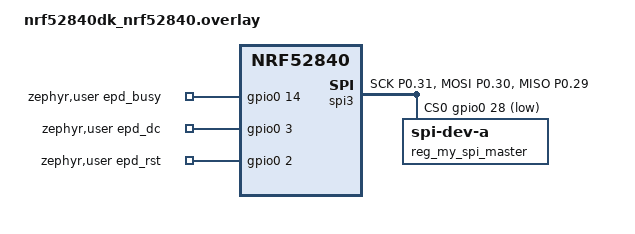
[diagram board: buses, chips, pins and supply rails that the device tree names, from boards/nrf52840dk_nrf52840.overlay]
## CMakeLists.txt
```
# SPDX-License-Identifier: Apache-2.0

cmake_minimum_required(VERSION 3.20.0)

find_package(Zephyr REQUIRED HINTS $ENV{ZEPHYR_BASE})
project(lvgl_1)

# Add all the C files you want built for the app here.
# Keep source files in src/ and list them below.
target_sources(app PRIVATE
    src/main.c
    src/ssd1683.c
    src/ssd1683.h
    src/image_bitmap.h
    src/image_bitmap.c



)
```

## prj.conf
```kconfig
# Basic Configuration
CONFIG_MAIN_STACK_SIZE=4096

# SPI Configuration
CONFIG_SPI=y

# GPIO Configuration
CONFIG_GPIO=y

# Logging
CONFIG_LOG=y
CONFIG_SHELL=y
CONFIG_LOG_DEFAULT_LEVEL=3

# Enable button for testing
CONFIG_RESET_COUNTER_SW0=y
CONFIG_GPIO=y

CONFIG_SPI=y
CONFIG_SPI_ASYNC=y

CONFIG_SPI_SLAVE=y
```

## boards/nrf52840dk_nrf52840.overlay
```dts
&pinctrl {
	spi_master_default: spi_master_default {
		group1 {
			psels = <NRF_PSEL(SPIM_SCK, 0, 31)>,
					<NRF_PSEL(SPIM_MOSI, 0, 30)>,
					<NRF_PSEL(SPIM_MISO, 0, 29)>;
		};
	};

	spi_master_sleep: spi_master_sleep {
		group1 {
			psels = <NRF_PSEL(SPIM_SCK, 0, 31)>,
					<NRF_PSEL(SPIM_MOSI, 0, 30)>,
					<NRF_PSEL(SPIM_MISO, 0, 29)>;
			low-power-enable;
		};
	};

};

my_spi_master: &spi3 {
	compatible = "nordic,nrf-spim";
	status = "okay";
	pinctrl-0 = <&spi_master_default>;
	pinctrl-1 = <&spi_master_sleep>;
	pinctrl-names = "default", "sleep";
	cs-gpios = <&gpio0 28 GPIO_ACTIVE_LOW>;
	reg_my_spi_master: spi-dev-a@0 {
		reg = <0>;
	};
};



// By default uart1 will occupy P1.01 and P1.02. In order to make these pins available, disable uart1
&uart1 {
	status="disabled";
};
/ {
	zephyr,user {
		epd_busy-gpios = <&gpio0 14 GPIO_ACTIVE_HIGH>;
		epd_dc-gpios = <&gpio0 3 GPIO_PULL_UP>;
		epd_rst-gpios = <&gpio0 2 GPIO_ACTIVE_HIGH>;
	}; 
};
	
```

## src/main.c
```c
#include <zephyr/drivers/gpio.h>
#include <zephyr/drivers/spi.h>
#include <zephyr/kernel.h>
#include <zephyr/logging/log.h>

#include "ssd1683.h"

LOG_MODULE_REGISTER(epd_main, LOG_LEVEL_INF);
#define LED0_NODE DT_ALIAS(led0)
#define ZEPHYR_USER_NODE DT_PATH(zephyr_user)
#define MY_SPI_MASTER DT_NODELABEL(my_spi_master)
#define MY_SPI_MASTER_CS_DT_SPEC                                               \
  SPI_CS_GPIOS_DT_SPEC_GET(DT_NODELABEL(reg_my_spi_master))
static const struct gpio_dt_spec led = GPIO_DT_SPEC_GET(LED0_NODE, gpios);

// SSD1683 display configuration
static const struct ssd1683_config epd_cfg = {
    .spi_dev = DEVICE_DT_GET(MY_SPI_MASTER),
    .spi_cfg =
        {
            .operation = SPI_WORD_SET(8) | SPI_WORD_SET(8) | SPI_TRANSFER_MSB |
                         SPI_MODE_CPOL | SPI_MODE_CPHA,
            .frequency = 4000000,
            .slave = 0,
            .cs = {.gpio = MY_SPI_MASTER_CS_DT_SPEC, .delay = 0},
        },
    .dc = GPIO_DT_SPEC_GET(ZEPHYR_USER_NODE, epd_dc_gpios),
    .rst = GPIO_DT_SPEC_GET(ZEPHYR_USER_NODE, epd_rst_gpios),
    .busy = GPIO_DT_SPEC_GET(ZEPHYR_USER_NODE, epd_busy_gpios),
    .width = 400,
    .height = 300,
};

int main(void) {
  int ret;

  LOG_INF("Starting SSD1683 EPD test");

  // Configure LED
  if (!device_is_ready(led.port)) {
    LOG_ERR("LED device not ready");
  } else {
    ret = gpio_pin_configure_dt(&led, GPIO_OUTPUT_ACTIVE);
    if (ret < 0) {
      LOG_ERR("Failed to configure LED: %d", ret);
    }
  }

  // Initialize display
  ret = ssd1683_init(&epd_cfg);
  if (ret < 0) {
    LOG_ERR("SSD1683 init failed: %d", ret);
  }

  // Clear screen
  ssd1683_clear(&epd_cfg);

  //   ssd1683_draw_rect_fb(46, 31, 31, 235, SSD1683_COLOR_WHITE);
  //   ssd1683_draw_rect_fb(86, 31, 31, 235, SSD1683_COLOR_WHITE);
  //   ssd1683_draw_rect_fb(126, 31, 31, 235, SSD1683_COLOR_WHITE);
  //   ssd1683_draw_rect_fb(246, 31, 31, 235, SSD1683_COLOR_WHITE);
  //   ssd1683_draw_rect_fb(286, 31, 31, 235, SSD1683_COLOR_WHITE);
  //   ssd1683_draw_rect_fb(326, 31, 31, 235, SSD1683_COLOR_WHITE);

  //   ssd1683_draw_rect_fb(58, 85, 9, 130, SSD1683_COLOR_RED);
  //   ssd1683_draw_rect_fb(137, 85, 9, 130, SSD1683_COLOR_RED);
  //   ssd1683_draw_rect_fb(257, 85, 9, 130, SSD1683_COLOR_RED);
  //   ssd1683_draw_rect_fb(337, 85, 9, 130, SSD1683_COLOR_RED);
  //   ssd1683_draw_rect_fb(176, 85, 54, 130, SSD1683_COLOR_RED);
  //   //   ssd1683_draw_string_fb(10, 20, "Quick Brown Fox Jumps Over The Lazy
  //   Dog",
  //   //                          SSD1683_COLOR_RED);
  //   //   ssd1683_draw_string_fb(10, 40, "1234567890~!@#$%^&*()_+=",
  //   //   SSD1683_COLOR_RED);

  //   ssd1683_draw_bitmap(&epd_cfg); // draw your header image
  //   ssd1683_flush(&epd_cfg);

  ssd1683_deep_sleep(&epd_cfg);
  LOG_INF("Display initialized and circle drawn");

  // Blink LED to show main loop running
  while (1) {
    if (device_is_ready(led.port)) {
      gpio_pin_toggle_dt(&led);
    }
    k_msleep(1000);
  }
  return 0;
}
```

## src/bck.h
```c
// // // #include <zephyr/device.h>
// // // #include <zephyr/drivers/gpio.h>
// // // #include <zephyr/drivers/spi.h>
// // // #include <zephyr/kernel.h>
// // // #include <zephyr/logging/log.h>

// // // LOG_MODULE_REGISTER(epd_gpio, LOG_LEVEL_INF);

// // // #define LED0_NODE DT_ALIAS(led0)
// // // #define ZEPHYR_USER_NODE DT_PATH(zephyr_user)
// // // #define MY_SPI_MASTER DT_NODELABEL(my_spi_master)
// // // #define MY_SPI_MASTER_CS_DT_SPEC \
// // //   SPI_CS_GPIOS_DT_SPEC_GET(DT_NODELABEL(reg_my_spi_master))

// // // #define MY_SPI_SLAVE DT_NODELABEL(my_spi_slave)

// // // // SPI master functionality
// // // const struct device *spi_dev;
// // // static struct k_poll_signal spi_done_sig =
// // //     K_POLL_SIGNAL_INITIALIZER(spi_done_sig);

// // // static void spi_init(void) {
// // //   spi_dev = DEVICE_DT_GET(MY_SPI_MASTER);
// // //   if (!device_is_ready(spi_dev)) {
// // //     printk("SPI master device not ready!\n");
// // //   }
// // //   struct gpio_dt_spec spim_cs_gpio = MY_SPI_MASTER_CS_DT_SPEC;
// // //   if (!device_is_ready(spim_cs_gpio.port)) {
// // //     printk("SPI master chip select device not ready!\n");
// // //   }
// // // }

// // // static struct spi_config spi_cfg = {
// // //     .operation =
// // //         SPI_WORD_SET(8) | SPI_TRANSFER_MSB | SPI_MODE_CPOL |
// // // SPI_MODE_CPHA,
// // //     .frequency = 4000000,
// // //     .slave = 0,
// // //     .cs = {.gpio = MY_SPI_MASTER_CS_DT_SPEC, .delay = 0},
// // // };

// // // static int spi_write_test_msg(void) {
// // //   static uint8_t counter = 0;
// // //   static uint8_t tx_buffer[2];
// // //   static uint8_t rx_buffer[2];

// // //   const struct spi_buf tx_buf = {.buf = tx_buffer, .len =
// // //     sizeof(tx_buffer)
// // // }
// // // ;
// // //   const struct spi_buf_set tx = {.buffers = &tx_buf, .count = 1};

// // //   struct spi_buf rx_buf = {
// // //       .buf = rx_buffer,
// // //       .len = sizeof(rx_buffer),
// // //   };
// // //   const struct spi_buf_set rx = {.buffers = &rx_buf, .count = 1};

// // //   // Update the TX buffer with a rolling counter
// // //   tx_buffer[0] = counter++;
// // //   printk("SPI TX: 0x%.2x, 0x%.2x\n", tx_buffer[0], tx_buffer[1]);

// // //   // Reset signal
// // //   k_poll_signal_reset(&spi_done_sig);

// // //   // Start transaction
// // //   int error = spi_transceive_signal(spi_dev, &spi_cfg, &tx, &rx,
// // //   &spi_done_sig); if (error != 0) {
// // //     printk("SPI transceive error: %i\n", error);
// // //     return error;
// // //   }

// // //   // Wait for the done signal to be raised and log the rx buffer
// // //   int spi_signaled, spi_result;
// // //   do {
// // //     k_poll_signal_check(&spi_done_sig, &spi_signaled, &spi_result);
// // //   } while (spi_signaled == 0);
// // //   printk("SPI RX: 0x%.2x, 0x%.2x\n", rx_buffer[0], rx_buffer[1]);
// // //   return 0;
// // // }

// // // static const struct gpio_dt_spec led = GPIO_DT_SPEC_GET(LED0_NODE,
// gpios);

// // // int main(void) {
// // //   int ret;
// // //   if (!device_is_ready(led.port)) {
// // //     return 0;
// // //   }

// // //   ret = gpio_pin_configure_dt(&led, GPIO_OUTPUT_ACTIVE);
// // //   if (ret < 0) {
// // //     return 0;
// // //   }
// // //   spi_init();

// // //   const struct gpio_dt_spec epd_busy =
// // //       GPIO_DT_SPEC_GET(ZEPHYR_USER_NODE, epd_busy_gpios);
// // //   const struct gpio_dt_spec epd_dc =
// // //       GPIO_DT_SPEC_GET(ZEPHYR_USER_NODE, epd_dc_gpios);
// // //   const struct gpio_dt_spec epd_rst =
// // //       GPIO_DT_SPEC_GET(ZEPHYR_USER_NODE, epd_rst_gpios);

// // //   // Check device readiness
// // //   if (!device_is_ready(epd_busy.port)) {
// // //     LOG_ERR("EPD BUSY GPIO device not ready");
// // //     return;
// // //   }
// // //   if (!device_is_ready(epd_dc.port)) {
// // //     LOG_ERR("EPD DC GPIO device not ready");
// // //     return;
// // //   }
// // //   if (!device_is_ready(epd_rst.port)) {
// // //     LOG_ERR("EPD RST GPIO device not ready");
// // //     return;
// // //   }

// // //   // Configure pins
// // //   ret = gpio_pin_configure_dt(&epd_busy, GPIO_OUTPUT_INACTIVE);
// // //   if (ret < 0) {
// // //     LOG_ERR("Failed to configure EPD BUSY pin: %d", ret);
// // //   } else {
// // //     LOG_INF("EPD BUSY pin configured");
// // //     gpio_pin_set_dt(&epd_busy, 1);
// // //     LOG_INF("EPD BUSY pin set HIGH");
// // //   }

// // //   ret = gpio_pin_configure_dt(&epd_dc, GPIO_OUTPUT_INACTIVE);
// // //   if (ret < 0) {
// // //     LOG_ERR("Failed to configure EPD DC pin: %d", ret);
// // //   } else {
// // //     LOG_INF("EPD DC pin configured");
// // //     gpio_pin_set_dt(&epd_dc, 1);
// // //     LOG_INF("EPD DC pin set HIGH");
// // //   }

// // //   ret = gpio_pin_configure_dt(&epd_rst, GPIO_OUTPUT_INACTIVE);
// // //   if (ret < 0) {
// // //     LOG_ERR("Failed to configure EPD RST pin: %d", ret);
// // //   } else {
// // //     LOG_INF("EPD RST pin configured");
// // //     gpio_pin_set_dt(&epd_rst, 1);
// // //     LOG_INF("EPD RST pin set HIGH");
// // //   }

// // //   LOG_INF("EPD GPIO initialization complete");

// // //   while (1) {
// // //     k_msleep(1000);
// // //   }
// // //   return 0;
// // // }

// // #include <zephyr/device.h>
// // #include <zephyr/drivers/gpio.h>
// // #include <zephyr/drivers/spi.h>
// // #include <zephyr/kernel.h>
// // #include <zephyr/logging/log.h>

// // LOG_MODULE_REGISTER(epd_gpio, LOG_LEVEL_INF);

// // #define LED0_NODE DT_ALIAS(led0)
// // #define ZEPHYR_USER_NODE DT_PATH(zephyr_user)
// // #define MY_SPI_MASTER DT_NODELABEL(my_spi_master)
// // #define MY_SPI_MASTER_CS_DT_SPEC \
// //   SPI_CS_GPIOS_DT_SPEC_GET(DT_NODELABEL(reg_my_spi_master))

// // #define MY_SPI_SLAVE DT_NODELABEL(my_spi_slave)

// // // SPI master functionality
// // const struct device *spi_dev;
// // static struct k_poll_signal spi_done_sig =
// //     K_POLL_SIGNAL_INITIALIZER(spi_done_sig);

// // static void spi_init(void) {
// //   spi_dev = DEVICE_DT_GET(MY_SPI_MASTER);
// //   if (!device_is_ready(spi_dev)) {
// //     LOG_ERR("SPI master device not ready!");
// //   } else {
// //     LOG_INF("SPI master device ready");
// //   }

// //   struct gpio_dt_spec spim_cs_gpio = MY_SPI_MASTER_CS_DT_SPEC;
// //   if (!device_is_ready(spim_cs_gpio.port)) {
// //     LOG_ERR("SPI master chip select device not ready!");
// //   } else {
// //     LOG_INF("SPI CS GPIO ready (port %p, pin %d)", spim_cs_gpio.port,
// //             spim_cs_gpio.pin);
// //   }
// // }

// // static struct spi_config spi_cfg = {
// //     .operation =
// //         SPI_WORD_SET(8) | SPI_TRANSFER_MSB | SPI_MODE_CPOL |
// SPI_MODE_CPHA,
// //     .frequency = 4000000,
// //     .slave = 0,
// //     .cs = {.gpio = MY_SPI_MASTER_CS_DT_SPEC, .delay = 0},
// // };

// // static int spi_write_test_msg(void) {
// //   static uint8_t counter = 20;
// //   static uint8_t tx_buffer[2];
// //   static uint8_t rx_buffer[2];

// //   const struct spi_buf tx_buf = {.buf = tx_buffer, .len =
// sizeof(tx_buffer)};
// //   const struct spi_buf_set tx = {.buffers = &tx_buf, .count = 1};

// //   struct spi_buf rx_buf = {
// //       .buf = rx_buffer,
// //       .len = sizeof(rx_buffer),
// //   };
// //   const struct spi_buf_set rx = {.buffers = &rx_buf, .count = 1};

// //   // Update TX buffer with rolling counter
// //   tx_buffer[0] = counter++;
// //   LOG_INF("SPI TX: 0x%.2x 0x%.2x", tx_buffer[0], tx_buffer[1]);

// //   k_poll_signal_reset(&spi_done_sig);

// //   int error = spi_transceive_signal(spi_dev, &spi_cfg, &tx, &rx,
// //   &spi_done_sig); if (error != 0) {
// //     LOG_ERR("SPI transceive_signal failed: %d", error);
// //     return error;
// //   }

// //   // Wait for signal
// //   int spi_signaled, spi_result;
// //   do {
// //     k_poll_signal_check(&spi_done_sig, &spi_signaled, &spi_result);
// //   } while (spi_signaled == 0);

// //   LOG_INF("SPI RX: 0x%.2x 0x%.2x", rx_buffer[0], rx_buffer[1]);
// //   return 0;
// // }

// // static const struct gpio_dt_spec led = GPIO_DT_SPEC_GET(LED0_NODE, gpios);

// // const struct gpio_dt_spec epd_busy =
// //     GPIO_DT_SPEC_GET(ZEPHYR_USER_NODE, epd_busy_gpios);
// // const struct gpio_dt_spec epd_dc =
// //     GPIO_DT_SPEC_GET(ZEPHYR_USER_NODE, epd_dc_gpios);
// // const struct gpio_dt_spec epd_rst =
// //     GPIO_DT_SPEC_GET(ZEPHYR_USER_NODE, epd_rst_gpios);

// // // Check device readiness
// // // if (!device_is_ready(epd_busy.port)) {
// // //   LOG_ERR("EPD BUSY GPIO device not ready");
// // //   return 0;
// // // }
// // // if (!device_is_ready(epd_dc.port)) {
// // //   LOG_ERR("EPD DC GPIO device not ready");
// // //   return 0;
// // // }
// // // if (!device_is_ready(epd_rst.port)) {
// // //   LOG_ERR("EPD RST GPIO device not ready");
// // //   return 0;
// // // }
// // // int ret = 0;
// // // // Configure pins
// // // ret = gpio_pin_configure_dt(&epd_busy, GPIO_INPUT);
// // // if (ret < 0) {
// // //   LOG_ERR("Failed to configure EPD BUSY pin: %d", ret);
// // // } else {
// // //   LOG_INF("EPD BUSY pin configured");
// // //   gpio_pin_set_dt(&epd_busy, 1);
// // //   LOG_INF("EPD BUSY pin set HIGH");
// // // }

// // // ret = gpio_pin_configure_dt(&epd_dc, GPIO_OUTPUT_INACTIVE);
// // // if (ret < 0) {
// // //   LOG_ERR("Failed to configure EPD DC pin: %d", ret);
// // // } else {
// // //   LOG_INF("EPD DC pin configured");
// // //   gpio_pin_set_dt(&epd_dc, 1);
// // //   LOG_INF("EPD DC pin set HIGH");
// // // }

// // // ret = gpio_pin_configure_dt(&epd_rst, GPIO_OUTPUT_INACTIVE);
// // // if (ret < 0) {
// // //   LOG_ERR("Failed to configure EPD RST pin: %d", ret);
// // // } else {
// // //   LOG_INF("EPD RST pin configured");
// // //   gpio_pin_set_dt(&epd_rst, 1);
// // //   LOG_INF("EPD RST pin set HIGH");
// // // }

// // static void epd_send_command(uint8_t cmd) {
// //   gpio_pin_set_dt(&epd_dc, 0); // command mode
// //   struct spi_buf buf = {.buf = &cmd, .len = 1};
// //   struct spi_buf_set tx = {.buffers = &buf, .count = 1};
// //   spi_write(spi_dev, &spi_cfg, &tx);
// // }

// // static void epd_send_data(uint8_t data) {
// //   gpio_pin_set_dt(&epd_dc, 1); // data mode
// //   struct spi_buf buf = {.buf = &data, .len = 1};
// //   struct spi_buf_set tx = {.buffers = &buf, .count = 1};
// //   spi_write(spi_dev, &spi_cfg, &tx);
// // }
// // static void epd_wait_busy(void) {
// //   LOG_INF("Waiting for EPD BUSY...");
// //   while (gpio_pin_get_dt(&epd_busy)) {
// //     k_msleep(10);
// //   }
// //   LOG_INF("BUSY=%d in wait busy", gpio_pin_get_dt(&epd_busy));
// //   LOG_INF("EPD ready (BUSY=LOW)");
// // }

// // static void epd_hw_reset(void) {
// //   gpio_pin_set_dt(&epd_rst, 0);
// //   k_msleep(10); // at least 10ms
// //   gpio_pin_set_dt(&epd_rst, 1);
// //   k_msleep(10); // at least 2ms
// //   LOG_INF("HW Reset done");
// // }
// // static void epd_init_ssd1683(void) {
// //   LOG_INF("EPD Init (SSD1683)");

// //   // HW Reset with pulse
// //   epd_hw_reset();
// //   epd_wait_busy();

// //   // SW Reset
// //   epd_send_command(0x12); // SWRESET
// //   k_msleep(10);
// //   epd_wait_busy();

// //   // Driver output control
// //   epd_send_command(0x01); // Driver Output Control
// //   epd_send_data(0x2B);    // A[7:0] = 0x2B
// //   epd_send_data(0x01);    // A[8] = 1
// //   epd_send_data(0x00);    // B[2:0] = 000

// //   // Data entry mode
// //   epd_send_command(0x11);
// //   epd_send_data(0x03); // X increment, Y increment

// //   // Set RAM X address
// //   epd_send_command(0x44);
// //   epd_send_data(0x00); // start 0
// //   epd_send_data(0x31); //

// //   // Set RAM Y address
// //   epd_send_command(0x45);
// //   epd_send_data(0x00);
// //   epd_send_data(0x00);
// //   epd_send_data(0x2B);
// //   epd_send_data(0x01);

// //   // Border waveform
// //   epd_send_command(0x3C);
// //   epd_send_data(0xC0);

// //   /*4. Load Waveform LUT
// //   • Sense temperature by int/ext TS by Command 0x18

// //   • Load waveform LUT from OTP by Command 0x22,
// //   0x20 or by MCU
// //   • Wait BUSY Low*/

// //   // sense temp selection
// //   epd_send_command(0x18);
// //   epd_send_data(0x80); // internal
// //   epd_send_command(0x22);
// //   epd_send_data(0xF7); // clk+analog+load temp + LUT (3-color)
// //   epd_send_command(0x20);
// //   epd_wait_busy();

// //   // load waveform from OTP

// //   /*
// //   5. Write Image and Drive Display Panel
// // • Write image data in RAM by Command 0x4E, 0x4F,
// // 0x24, 0x26
// // • Set softstart setting by Command 0x0C
// // • Drive display panel by Command 0x22, 0x20
// // • Wait BUSY Low*/

// //   // epd_send_command(0x24); // Write BW RAM
// //   // for (int i = 0; i < 50 * 300; i++) {
// //   //   epd_send_data(0x00); // Fill white
// //   // }

// //   // k_msleep(500);

// //   // epd_send_command(0x26);
// //   // for (int i = 0; i < 50 * 300; i++) {
// //   //   epd_send_data(0xFF); // Full red
// //   // }

// //   // k_msleep(500);

// //   // Set softstart setting by Command 0x0C
// //   // epd_send_command(0x0C);
// //   // epd_send_data(0xD7);
// //   // epd_send_data(0xD6);
// //   // epd_send_data(0x9D);

// //   int bytes_per_line = 400 / 8;
// //   int total_bytes = bytes_per_line * 300;

// //   // Clear BW RAM (white = 0xFF)
// //   epd_send_command(0x24);
// //   for (int i = 0; i < total_bytes; i++) {
// //     epd_send_data(0xFF);
// //   }

// //   // Clear RED RAM (no red = 0x00)
// //   epd_send_command(0x26);
// //   for (int i = 0; i < total_bytes; i++) {
// //     epd_send_data(0x00);
// //   }

// //   // Now update once
// //   epd_send_command(0x22);
// //   epd_send_data(0xC7);
// //   epd_send_command(0x20);
// //   epd_wait_busy();

// //   epd_send_command(0x24); // Write BW RAM

// //   int cx = 200; // center x
// //   int cy = 150; // center y
// //   int r = 50;   // radius

// //   epd_send_command(0x24); // Write BW RAM
// //   for (int y = 0; y < 300; y++) {
// //     for (int bx = 0; bx < bytes_per_line; bx++) {
// //       uint8_t data = 0xFF; // default = all white
// //       int x_start = bx * 8;

// //       for (int b = 0; b < 8; b++) {
// //         int x = x_start + b;

// //         // check circle equation
// //         int dx = x - cx;
// //         int dy = y - cy;
// //         if (dx * dx + dy * dy <= r * r) {
// //           data &= ~(1 << (7 - b)); // bit=0 → black pixel
// //         }
// //       }
// //       epd_send_data(data);
// //     }
// //   }

// //   // Optional: clear red RAM so no flecks
// //   epd_send_command(0x26);
// //   for (int i = 0; i < total_bytes; i++) {
// //     epd_send_data(0x00);
// //   }

// //   // Refresh
// //   epd_send_command(0x22);
// //   epd_send_data(0xC7);
// //   epd_send_command(0x20);
// //   epd_wait_busy();

// //   LOG_INF("EPD SSD1683 init complete");
// // }

// // static void epd_init_phase1(void) {
// //   LOG_INF("EPD Init Phase 1: SPI setup + HW/SW reset");
// //   // Configure pins
// //   gpio_pin_configure_dt(&epd_rst, GPIO_OUTPUT_ACTIVE);
// //   gpio_pin_configure_dt(&epd_dc, GPIO_OUTPUT_ACTIVE);
// //   gpio_pin_configure_dt(&epd_busy, GPIO_INPUT);
// // }

// // #include "ssd1683.h"
// // #include <zephyr/kernel.h>

// // int main(void) {
// //   int ret;

// //   // Check LED device
// //   if (!device_is_ready(led.port)) {
// //     LOG_ERR("LED device not ready!");
// //     return 0;
// //   }

// //   ret = gpio_pin_configure_dt(&led, GPIO_OUTPUT_ACTIVE);
// //   if (ret < 0) {
// //     LOG_ERR("Failed to configure LED: %d", ret);
// //     return 0;
// //   } else {
// //     LOG_INF("LED configured and set active");
// //   }

// //   // Check EPD GPIO devices
// //   if (!device_is_ready(epd_busy.port)) {
// //     LOG_ERR("EPD BUSY GPIO device not ready");
// //     return 0;
// //   }
// //   if (!device_is_ready(epd_dc.port)) {
// //     LOG_ERR("EPD DC GPIO device not ready");
// //     return 0;
// //   }
// //   if (!device_is_ready(epd_rst.port)) {
// //     LOG_ERR("EPD RST GPIO device not ready");
// //     return 0;
// //   }

// //   // Init SPI + EPD (Phase 1 reset sequence)
// //   spi_init();
// //   epd_init_phase1(); // handles HW + SW reset
// //   epd_init_ssd1683();
// //   // epd_clear_ssd1683();

// //   while (1) {
// //     ret = gpio_pin_toggle_dt(&led);
// //     if (ret < 0) {
// //       LOG_ERR("Failed to toggle LED: %d", ret);
// //     }
// //     k_msleep(1000);
// //   }

// //   return 0;
// // }
```

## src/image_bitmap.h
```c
#ifndef IMAGE_BITMAP_H
#define IMAGE_BITMAP_H

#include <stdint.h>

extern const uint8_t bw_bitmap[15000];
extern const uint8_t red_bitmap[15000];

#endif // IMAGE_BITMAP_H
```

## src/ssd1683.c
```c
#include "ssd1683.h"
#include <zephyr/logging/log.h>
LOG_MODULE_REGISTER(ssd1683, LOG_LEVEL_INF);

#define SSD1683_WIDTH 400
#define SSD1683_HEIGHT 300

// 1 bit per pixel for BW
static uint8_t fb_bw[SSD1683_WIDTH * SSD1683_HEIGHT / 8];
static uint8_t fb_red[SSD1683_WIDTH * SSD1683_HEIGHT / 8];

// Simple helpers
static void wait_busy(const struct ssd1683_config *cfg) {
  LOG_INF("Waiting for BUSY pin...");
  while (gpio_pin_get_dt(&cfg->busy)) {
    k_msleep(10);
  }
}

void ssd1683_deep_sleep(const struct ssd1683_config *cfg) {
  ssd1683_write_cmd(cfg, 0x10);
  ssd1683_write_data(cfg, 0x11);
};

// Low-level SPI commands
void ssd1683_write_cmd(const struct ssd1683_config *cfg, uint8_t cmd) {
  gpio_pin_set_dt(&cfg->dc, 0); // command mode
  struct spi_buf buf = {.buf = &cmd, .len = 1};
  struct spi_buf_set tx = {.buffers = &buf, .count = 1};
  spi_write(cfg->spi_dev, &cfg->spi_cfg, &tx);
}

void ssd1683_write_data(const struct ssd1683_config *cfg, uint8_t data) {
  gpio_pin_set_dt(&cfg->dc, 1); // data mode
  struct spi_buf buf = {.buf = &data, .len = 1};
  struct spi_buf_set tx = {.buffers = &buf, .count = 1};
  spi_write(cfg->spi_dev, &cfg->spi_cfg, &tx);
}

// Hardware reset
void ssd1683_reset(const struct ssd1683_config *cfg) {
  gpio_pin_set_dt(&cfg->rst, 0);
  k_msleep(10);
  gpio_pin_set_dt(&cfg->rst, 1);
  k_msleep(10);
  LOG_INF("HW Reset done");
}

// Initialize display (basic)
int ssd1683_init(const struct ssd1683_config *cfg) {
  if (!device_is_ready(cfg->spi_dev) || !device_is_ready(cfg->dc.port) ||
      !device_is_ready(cfg->rst.port) || !device_is_ready(cfg->busy.port)) {
    LOG_ERR("One or more devices not ready");
    return -ENODEV;
  }

  gpio_pin_configure_dt(&cfg->dc, GPIO_OUTPUT_ACTIVE);
  gpio_pin_configure_dt(&cfg->rst, GPIO_OUTPUT_ACTIVE);
  gpio_pin_configure_dt(&cfg->busy, GPIO_INPUT);

  ssd1683_reset(cfg);
  wait_busy(cfg);

  // SW reset
  ssd1683_write_cmd(cfg, 0x12);
  k_msleep(10);
  wait_busy(cfg);

  // Basic driver output control & data entry mode
  ssd1683_write_cmd(cfg, 0x01);
  ssd1683_write_data(cfg, 0x2B);
  ssd1683_write_data(cfg, 0x01);
  ssd1683_write_data(cfg, 0x00);

  ssd1683_write_cmd(cfg, 0x11);
  ssd1683_write_data(cfg, 0x03);

  // Set RAM X address
  ssd1683_write_cmd(cfg, 0x44);
  ssd1683_write_data(cfg, 0x00); // start 0
  ssd1683_write_data(cfg, 0x31); //

  // Set RAM Y address
  ssd1683_write_cmd(cfg, 0x45);
  ssd1683_write_data(cfg, 0x00);
  ssd1683_write_data(cfg, 0x00);
  ssd1683_write_data(cfg, 0x2B);
  ssd1683_write_data(cfg, 0x01);

  // Border waveform
  ssd1683_write_cmd(cfg, 0x3C);
  ssd1683_write_data(cfg, 0x10);

  /*4. Load Waveform LUT
  • Sense temperature by int/ext TS by Command 0x18

  • Load waveform LUT from OTP by Command 0x22,
  0x20 or by MCU
  • Wait BUSY Low*/

  // sense temp selection
  ssd1683_write_cmd(cfg, 0x18);
  ssd1683_write_data(cfg, 0x80); // internal
  ssd1683_write_cmd(cfg, 0x22);
  ssd1683_write_data(cfg, 0xF7); // clk+analog+load temp + LUT (3-color)
  ssd1683_write_cmd(cfg, 0x20);
  wait_busy(cfg);

  // load waveform from OTP

  /*
  5. Write Image and Drive Display Panel
• Write image data in RAM by Command 0x4E, 0x4F,
0x24, 0x26
• Set softstart setting by Command 0x0C
• Drive display panel by Command 0x22, 0x20
• Wait BUSY Low*/
  //   Set softstart setting by Command 0x0C
  ssd1683_write_cmd(cfg, 0x0C);
  ssd1683_write_data(cfg, 0xD7);
  ssd1683_write_data(cfg, 0xD6);
  ssd1683_write_data(cfg, 0x9D);
  LOG_INF("SSD1683 init done");
  return 0;
}

// Clear display (BW=white, RED=off)
void ssd1683_clear(const struct ssd1683_config *cfg) {
  int bytes_per_line = cfg->width / 8;
  int total_bytes = bytes_per_line * cfg->height;

  ssd1683_write_cmd(cfg, 0x24); // BW RAM
  for (int i = 0; i < total_bytes; i++)
    ssd1683_write_data(cfg, 0xFF);

  ssd1683_write_cmd(cfg, 0x26); // RED RAM
  for (int i = 0; i < total_bytes; i++)
    ssd1683_write_data(cfg, 0x00);

  ssd1683_refresh(cfg);
}

// Refresh display
void ssd1683_refresh(const struct ssd1683_config *cfg) {
  ssd1683_write_cmd(cfg, 0x22);
  ssd1683_write_data(cfg, 0xC7);
  ssd1683_write_cmd(cfg, 0x20);
  wait_busy(cfg);
}

char font8x8_basic[128][8] = {
    {0x00, 0x00, 0x00, 0x00, 0x00, 0x00, 0x00, 0x00}, // U+0000 (nul)
    {0x00, 0x00, 0x00, 0x00, 0x00, 0x00, 0x00, 0x00}, // U+0001
    {0x00, 0x00, 0x00, 0x00, 0x00, 0x00, 0x00, 0x00}, // U+0002
    {0x00, 0x00, 0x00, 0x00, 0x00, 0x00, 0x00, 0x00}, // U+0003
    {0x00, 0x00, 0x00, 0x00, 0x00, 0x00, 0x00, 0x00}, // U+0004
    {0x00, 0x00, 0x00, 0x00, 0x00, 0x00, 0x00, 0x00}, // U+0005
    {0x00, 0x00, 0x00, 0x00, 0x00, 0x00, 0x00, 0x00}, // U+0006
    {0x00, 0x00, 0x00, 0x00, 0x00, 0x00, 0x00, 0x00}, // U+0007
    {0x00, 0x00, 0x00, 0x00, 0x00, 0x00, 0x00, 0x00}, // U+0008
    {0x00, 0x00, 0x00, 0x00, 0x00, 0x00, 0x00, 0x00}, // U+0009
    {0x00, 0x00, 0x00, 0x00, 0x00, 0x00, 0x00, 0x00}, // U+000A
    {0x00, 0x00, 0x00, 0x00, 0x00, 0x00, 0x00, 0x00}, // U+000B
    {0x00, 0x00, 0x00, 0x00, 0x00, 0x00, 0x00, 0x00}, // U+000C
    {0x00, 0x00, 0x00, 0x00, 0x00, 0x00, 0x00, 0x00}, // U+000D
    {0x00, 0x00, 0x00, 0x00, 0x00, 0x00, 0x00, 0x00}, // U+000E
    {0x00, 0x00, 0x00, 0x00, 0x00, 0x00, 0x00, 0x00}, // U+000F
    {0x00, 0x00, 0x00, 0x00, 0x00, 0x00, 0x00, 0x00}, // U+0010
    {0x00, 0x00, 0x00, 0x00, 0x00, 0x00, 0x00, 0x00}, // U+0011
    {0x00, 0x00, 0x00, 0x00, 0x00, 0x00, 0x00, 0x00}, // U+0012
    {0x00, 0x00, 0x00, 0x00, 0x00, 0x00, 0x00, 0x00}, // U+0013
    {0x00, 0x00, 0x00, 0x00, 0x00, 0x00, 0x00, 0x00}, // U+0014
    {0x00, 0x00, 0x00, 0x00, 0x00, 0x00, 0x00, 0x00}, // U+0015
    {0x00, 0x00, 0x00, 0x00, 0x00, 0x00, 0x00, 0x00}, // U+0016
    {0x00, 0x00, 0x00, 0x00, 0x00, 0x00, 0x00, 0x00}, // U+0017
    {0x00, 0x00, 0x00, 0x00, 0x00, 0x00, 0x00, 0x00}, // U+0018
    {0x00, 0x00, 0x00, 0x00, 0x00, 0x00, 0x00, 0x00}, // U+0019
    {0x00, 0x00, 0x00, 0x00, 0x00, 0x00, 0x00, 0x00}, // U+001A
    {0x00, 0x00, 0x00, 0x00, 0x00, 0x00, 0x00, 0x00}, // U+001B
    {0x00, 0x00, 0x00, 0x00, 0x00, 0x00, 0x00, 0x00}, // U+001C
    {0x00, 0x00, 0x00, 0x00, 0x00, 0x00, 0x00, 0x00}, // U+001D
    {0x00, 0x00, 0x00, 0x00, 0x00, 0x00, 0x00, 0x00}, // U+001E
    {0x00, 0x00, 0x00, 0x00, 0x00, 0x00, 0x00, 0x00}, // U+001F
    {0x00, 0x00, 0x00, 0x00, 0x00, 0x00, 0x00, 0x00}, // U+0020 (space)
    {0x18, 0x3C, 0x3C, 0x18, 0x18, 0x00, 0x18, 0x00}, // U+0021 (!)
    {0x36, 0x36, 0x00, 0x00, 0x00, 0x00, 0x00, 0x00}, // U+0022 (")
    {0x36, 0x36, 0x7F, 0x36, 0x7F, 0x36, 0x36, 0x00}, // U+0023 (#)
    {0x0C, 0x3E, 0x03, 0x1E, 0x30, 0x1F, 0x0C, 0x00}, // U+0024 ($)
    {0x00, 0x63, 0x33, 0x18, 0x0C, 0x66, 0x63, 0x00}, // U+0025 (%)
    {0x1C, 0x36, 0x1C, 0x6E, 0x3B, 0x33, 0x6E, 0x00}, // U+0026 (&)
    {0x06, 0x06, 0x03, 0x00, 0x00, 0x00, 0x00, 0x00}, // U+0027 (')
    {0x18, 0x0C, 0x06, 0x06, 0x06, 0x0C, 0x18, 0x00}, // U+0028 (()
    {0x06, 0x0C, 0x18, 0x18, 0x18, 0x0C, 0x06, 0x00}, // U+0029 ())
    {0x00, 0x66, 0x3C, 0xFF, 0x3C, 0x66, 0x00, 0x00}, // U+002A (*)
    {0x00, 0x0C, 0x0C, 0x3F, 0x0C, 0x0C, 0x00, 0x00}, // U+002B (+)
    {0x00, 0x00, 0x00, 0x00, 0x00, 0x0C, 0x0C, 0x06}, // U+002C (,)
    {0x00, 0x00, 0x00, 0x3F, 0x00, 0x00, 0x00, 0x00}, // U+002D (-)
    {0x00, 0x00, 0x00, 0x00, 0x00, 0x0C, 0x0C, 0x00}, // U+002E (.)
    {0x60, 0x30, 0x18, 0x0C, 0x06, 0x03, 0x01, 0x00}, // U+002F (/)
    {0x3E, 0x63, 0x73, 0x7B, 0x6F, 0x67, 0x3E, 0x00}, // U+0030 (0)
    {0x0C, 0x0E, 0x0C, 0x0C, 0x0C, 0x0C, 0x3F, 0x00}, // U+0031 (1)
    {0x1E, 0x33, 0x30, 0x1C, 0x06, 0x33, 0x3F, 0x00}, // U+0032 (2)
    {0x1E, 0x33, 0x30, 0x1C, 0x30, 0x33, 0x1E, 0x00}, // U+0033 (3)
    {0x38, 0x3C, 0x36, 0x33, 0x7F, 0x30, 0x78, 0x00}, // U+0034 (4)
    {0x3F, 0x03, 0x1F, 0x30, 0x30, 0x33, 0x1E, 0x00}, // U+0035 (5)
    {0x1C, 0x06, 0x03, 0x1F, 0x33, 0x33, 0x1E, 0x00}, // U+0036 (6)
    {0x3F, 0x33, 0x30, 0x18, 0x0C, 0x0C, 0x0C, 0x00}, // U+0037 (7)
    {0x1E, 0x33, 0x33, 0x1E, 0x33, 0x33, 0x1E, 0x00}, // U+0038 (8)
    {0x1E, 0x33, 0x33, 0x3E, 0x30, 0x18, 0x0E, 0x00}, // U+0039 (9)
    {0x00, 0x0C, 0x0C, 0x00, 0x00, 0x0C, 0x0C, 0x00}, // U+003A (:)
    {0x00, 0x0C, 0x0C, 0x00, 0x00, 0x0C, 0x0C, 0x06}, // U+003B (;)
    {0x18, 0x0C, 0x06, 0x03, 0x06, 0x0C, 0x18, 0x00}, // U+003C (<)
    {0x00, 0x00, 0x3F, 0x00, 0x00, 0x3F, 0x00, 0x00}, // U+003D (=)
    {0x06, 0x0C, 0x18, 0x30, 0x18, 0x0C, 0x06, 0x00}, // U+003E (>)
    {0x1E, 0x33, 0x30, 0x18, 0x0C, 0x00, 0x0C, 0x00}, // U+003F (?)
    {0x3E, 0x63, 0x7B, 0x7B, 0x7B, 0x03, 0x1E, 0x00}, // U+0040 (@)
    {0x0C, 0x1E, 0x33, 0x33, 0x3F, 0x33, 0x33, 0x00}, // U+0041 (A)
    {0x3F, 0x66, 0x66, 0x3E, 0x66, 0x66, 0x3F, 0x00}, // U+0042 (B)
    {0x3C, 0x66, 0x03, 0x03, 0x03, 0x66, 0x3C, 0x00}, // U+0043 (C)
    {0x1F, 0x36, 0x66, 0x66, 0x66, 0x36, 0x1F, 0x00}, // U+0044 (D)
    {0x7F, 0x46, 0x16, 0x1E, 0x16, 0x46, 0x7F, 0x00}, // U+0045 (E)
    {0x7F, 0x46, 0x16, 0x1E, 0x16, 0x06, 0x0F, 0x00}, // U+0046 (F)
    {0x3C, 0x66, 0x03, 0x03, 0x73, 0x66, 0x7C, 0x00}, // U+0047 (G)
    {0x33, 0x33, 0x33, 0x3F, 0x33, 0x33, 0x33, 0x00}, // U+0048 (H)
    {0x1E, 0x0C, 0x0C, 0x0C, 0x0C, 0x0C, 0x1E, 0x00}, // U+0049 (I)
    {0x78, 0x30, 0x30, 0x30, 0x33, 0x33, 0x1E, 0x00}, // U+004A (J)
    {0x67, 0x66, 0x36, 0x1E, 0x36, 0x66, 0x67, 0x00}, // U+004B (K)
    {0x0F, 0x06, 0x06, 0x06, 0x46, 0x66, 0x7F, 0x00}, // U+004C (L)
    {0x63, 0x77, 0x7F, 0x7F, 0x6B, 0x63, 0x63, 0x00}, // U+004D (M)
    {0x63, 0x67, 0x6F, 0x7B, 0x73, 0x63, 0x63, 0x00}, // U+004E (N)
    {0x1C, 0x36, 0x63, 0x63, 0x63, 0x36, 0x1C, 0x00}, // U+004F (O)
    {0x3F, 0x66, 0x66, 0x3E, 0x06, 0x06, 0x0F, 0x00}, // U+0050 (P)
    {0x1E, 0x33, 0x33, 0x33, 0x3B, 0x1E, 0x38, 0x00}, // U+0051 (Q)
    {0x3F, 0x66, 0x66, 0x3E, 0x36, 0x66, 0x67, 0x00}, // U+0052 (R)
    {0x1E, 0x33, 0x07, 0x0E, 0x38, 0x33, 0x1E, 0x00}, // U+0053 (S)
    {0x3F, 0x2D, 0x0C, 0x0C, 0x0C, 0x0C, 0x1E, 0x00}, // U+0054 (T)
    {0x33, 0x33, 0x33, 0x33, 0x33, 0x33, 0x3F, 0x00}, // U+0055 (U)
    {0x33, 0x33, 0x33, 0x33, 0x33, 0x1E, 0x0C, 0x00}, // U+0056 (V)
    {0x63, 0x63, 0x63, 0x6B, 0x7F, 0x77, 0x63, 0x00}, // U+0057 (W)
    {0x63, 0x63, 0x36, 0x1C, 0x1C, 0x36, 0x63, 0x00}, // U+0058 (X)
    {0x33, 0x33, 0x33, 0x1E, 0x0C, 0x0C, 0x1E, 0x00}, // U+0059 (Y)
    {0x7F, 0x63, 0x31, 0x18, 0x4C, 0x66, 0x7F, 0x00}, // U+005A (Z)
    {0x1E, 0x06, 0x06, 0x06, 0x06, 0x06, 0x1E, 0x00}, // U+005B ([)
    {0x03, 0x06, 0x0C, 0x18, 0x30, 0x60, 0x40, 0x00}, // U+005C (\)
    {0x1E, 0x18, 0x18, 0x18, 0x18, 0x18, 0x1E, 0x00}, // U+005D (])
    {0x08, 0x1C, 0x36, 0x63, 0x00, 0x00, 0x00, 0x00}, // U+005E (^)
    {0x00, 0x00, 0x00, 0x00, 0x00, 0x00, 0x00, 0xFF}, // U+005F (_)
    {0x0C, 0x0C, 0x18, 0x00, 0x00, 0x00, 0x00, 0x00}, // U+0060 (`)
    {0x00, 0x00, 0x1E, 0x30, 0x3E, 0x33, 0x6E, 0x00}, // U+0061 (a)
    {0x07, 0x06, 0x06, 0x3E, 0x66, 0x66, 0x3B, 0x00}, // U+0062 (b)
    {0x00, 0x00, 0x1E, 0x33, 0x03, 0x33, 0x1E, 0x00}, // U+0063 (c)
    {0x38, 0x30, 0x30, 0x3e, 0x33, 0x33, 0x6E, 0x00}, // U+0064 (d)
    {0x00, 0x00, 0x1E, 0x33, 0x3f, 0x03, 0x1E, 0x00}, // U+0065 (e)
    {0x1C, 0x36, 0x06, 0x0f, 0x06, 0x06, 0x0F, 0x00}, // U+0066 (f)
    {0x00, 0x00, 0x6E, 0x33, 0x33, 0x3E, 0x30, 0x1F}, // U+0067 (g)
    {0x07, 0x06, 0x36, 0x6E, 0x66, 0x66, 0x67, 0x00}, // U+0068 (h)
    {0x0C, 0x00, 0x0E, 0x0C, 0x0C, 0x0C, 0x1E, 0x00}, // U+0069 (i)
    {0x30, 0x00, 0x30, 0x30, 0x30, 0x33, 0x33, 0x1E}, // U+006A (j)
    {0x07, 0x06, 0x66, 0x36, 0x1E, 0x36, 0x67, 0x00}, // U+006B (k)
    {0x0E, 0x0C, 0x0C, 0x0C, 0x0C, 0x0C, 0x1E, 0x00}, // U+006C (l)
    {0x00, 0x00, 0x33, 0x7F, 0x7F, 0x6B, 0x63, 0x00}, // U+006D (m)
    {0x00, 0x00, 0x1F, 0x33, 0x33, 0x33, 0x33, 0x00}, // U+006E (n)
    {0x00, 0x00, 0x1E, 0x33, 0x33, 0x33, 0x1E, 0x00}, // U+006F (o)
    {0x00, 0x00, 0x3B, 0x66, 0x66, 0x3E, 0x06, 0x0F}, // U+0070 (p)
    {0x00, 0x00, 0x6E, 0x33, 0x33, 0x3E, 0x30, 0x78}, // U+0071 (q)
    {0x00, 0x00, 0x3B, 0x6E, 0x66, 0x06, 0x0F, 0x00}, // U+0072 (r)
    {0x00, 0x00, 0x3E, 0x03, 0x1E, 0x30, 0x1F, 0x00}, // U+0073 (s)
    {0x08, 0x0C, 0x3E, 0x0C, 0x0C, 0x2C, 0x18, 0x00}, // U+0074 (t)
    {0x00, 0x00, 0x33, 0x33, 0x33, 0x33, 0x6E, 0x00}, // U+0075 (u)
    {0x00, 0x00, 0x33, 0x33, 0x33, 0x1E, 0x0C, 0x00}, // U+0076 (v)
    {0x00, 0x00, 0x63, 0x6B, 0x7F, 0x7F, 0x36, 0x00}, // U+0077 (w)
    {0x00, 0x00, 0x63, 0x36, 0x1C, 0x36, 0x63, 0x00}, // U+0078 (x)
    {0x00, 0x00, 0x33, 0x33, 0x33, 0x3E, 0x30, 0x1F}, // U+0079 (y)
    {0x00, 0x00, 0x3F, 0x19, 0x0C, 0x26, 0x3F, 0x00}, // U+007A (z)
    {0x38, 0x0C, 0x0C, 0x07, 0x0C, 0x0C, 0x38, 0x00}, // U+007B ({)
    {0x18, 0x18, 0x18, 0x00, 0x18, 0x18, 0x18, 0x00}, // U+007C (|)
    {0x07, 0x0C, 0x0C, 0x38, 0x0C, 0x0C, 0x07, 0x00}, // U+007D (})
    {0x6E, 0x3B, 0x00, 0x00, 0x00, 0x00, 0x00, 0x00}, // U+007E (~)
    {0x00, 0x00, 0x00, 0x00, 0x00, 0x00, 0x00, 0x00}  // U+007F
};

void ssd1683_draw_char_fb(int x, int y, char c, uint8_t color) {
  if (c < 0 || c > 127)
    return;

  for (int row = 0; row < 8; row++) {
    uint8_t bits = font8x8_basic[(int)c][row];
    for (int col = 0; col < 8; col++) {
      if (bits & (1 << col)) { // LSB = leftmost
        ssd1683_set_pixel_fb(x + col, y + row, color);
      }
    }
  }
}
void ssd1683_draw_string_fb(int x, int y, const char *str, uint8_t color) {
  int cursor_x = x;
  while (*str) {
    ssd1683_draw_char_fb(cursor_x, y, *str, color);
    cursor_x += 8; // move 8px per char
    str++;
  }
}

void ssd1683_set_pixel_fb(int x, int y, uint8_t color) {
  if (x < 0 || x >= SSD1683_WIDTH || y < 0 || y >= SSD1683_HEIGHT)
    return;

  int byte_index = y * (SSD1683_WIDTH / 8) + (x / 8);
  uint8_t bit_mask = 0x80 >> (x % 8);

  switch (color) {
  case SSD1683_COLOR_BLACK:
    fb_bw[byte_index] &= ~bit_mask; // black = 0
    fb_red[byte_index] |= bit_mask; // make sure red is off
    break;

  case SSD1683_COLOR_RED:
    fb_red[byte_index] &= ~bit_mask; // red = 0
    fb_bw[byte_index] |= bit_mask;   // make sure bw is off
    break;

  default:                          // WHITE
    fb_bw[byte_index] |= bit_mask;  // white = 1
    fb_red[byte_index] |= bit_mask; // red = 1 (off)
    break;
  }
}

void ssd1683_draw_rect_fb(int x, int y, int w, int h, uint8_t color) {
  for (int j = y; j < y + h; j++) {
    for (int i = x; i < x + w; i++) {
      ssd1683_set_pixel_fb(i, j, color);
    }
  }
}

void ssd1683_draw_bitmap(const struct ssd1683_config *cfg) {
  int total_bytes = SSD1683_WIDTH * SSD1683_HEIGHT / 8;

  // Copy BW plane
  for (int i = 0; i < total_bytes; i++) {
    fb_bw[i] = bw_bitmap[i];   // from header
    fb_red[i] = red_bitmap[i]; // clear red
  }

  ssd1683_flush(cfg); // push to display
}

void ssd1683_flush(const struct ssd1683_config *cfg) {
  int total_bytes = SSD1683_WIDTH * SSD1683_HEIGHT / 8;

  // Write BW buffer
  ssd1683_write_cmd(cfg, 0x24);
  for (int i = 0; i < total_bytes; i++) {
    ssd1683_write_data(cfg, fb_bw[i]);
  }

  // Write RED buffer
  ssd1683_write_cmd(cfg, 0x26);
  for (int i = 0; i < total_bytes; i++) {
    ssd1683_write_data(cfg, fb_red[i]);
  }

  ssd1683_refresh(cfg);
}
```

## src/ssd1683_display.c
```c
#include "ssd1683_display.h"
#include <zephyr/logging/log.h>
LOG_MODULE_REGISTER(ssd1683_disp, LOG_LEVEL_INF);

struct ssd1683_display_data {
  const struct ssd1683_config *cfg;
};

static int ssd1683_display_write(const struct device *dev,
                                 const struct display_buffer_descriptor *desc,
                                 const void *buf) {
  struct ssd1683_display_data *data = dev->data;
  const uint8_t *pixels = buf;

  // For simplicity, we just write a full-frame update
  // Could be optimized later for partial updates
  for (int y = 0; y < data->cfg->height; y++) {
    for (int x = 0; x < data->cfg->width; x++) {
      int index = y * data->cfg->width + x;
      uint8_t color = pixels[index] ? SSD1683_COLOR_BLACK : SSD1683_COLOR_WHITE;
      ssd1683_draw_pixel(data->cfg, x, y, color);
    }
  }

  ssd1683_refresh(data->cfg);
  return 0;
}

static int ssd1683_display_get_framebuffer(const struct device *dev,
                                           void **buf) {
  ARG_UNUSED(dev);
  *buf = NULL; // No separate framebuffer in this simple wrapper
  return 0;
}

static const struct display_driver_api ssd1683_driver_api = {
    .write = ssd1683_display_write,
    .get_framebuffer = ssd1683_display_get_framebuffer,
};

static int ssd1683_display_init(const struct device *dev) {
  struct ssd1683_display_data *data = dev->data;

  // initialize hardware via your existing SSD1683 init
  int err = ssd1683_init(data->cfg);
  if (err) {
    return err;
  }

  LOG_INF("SSD1683 Display (Zephyr API) ready");
  return 0;
}

DEVICE_DEFINE(ssd1683_disp, "SSD1683_DISP", ssd1683_display_init, NULL, NULL,
              NULL, POST_KERNEL, CONFIG_KERNEL_INIT_PRIORITY_DEVICE,
              &ssd1683_driver_api);
```

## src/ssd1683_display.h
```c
#pragma once

#include "ssd1683.h"
#include <zephyr/device.h>
#include <zephyr/drivers/display.h>

int ssd1683_display_init(const struct device *dev);
```
